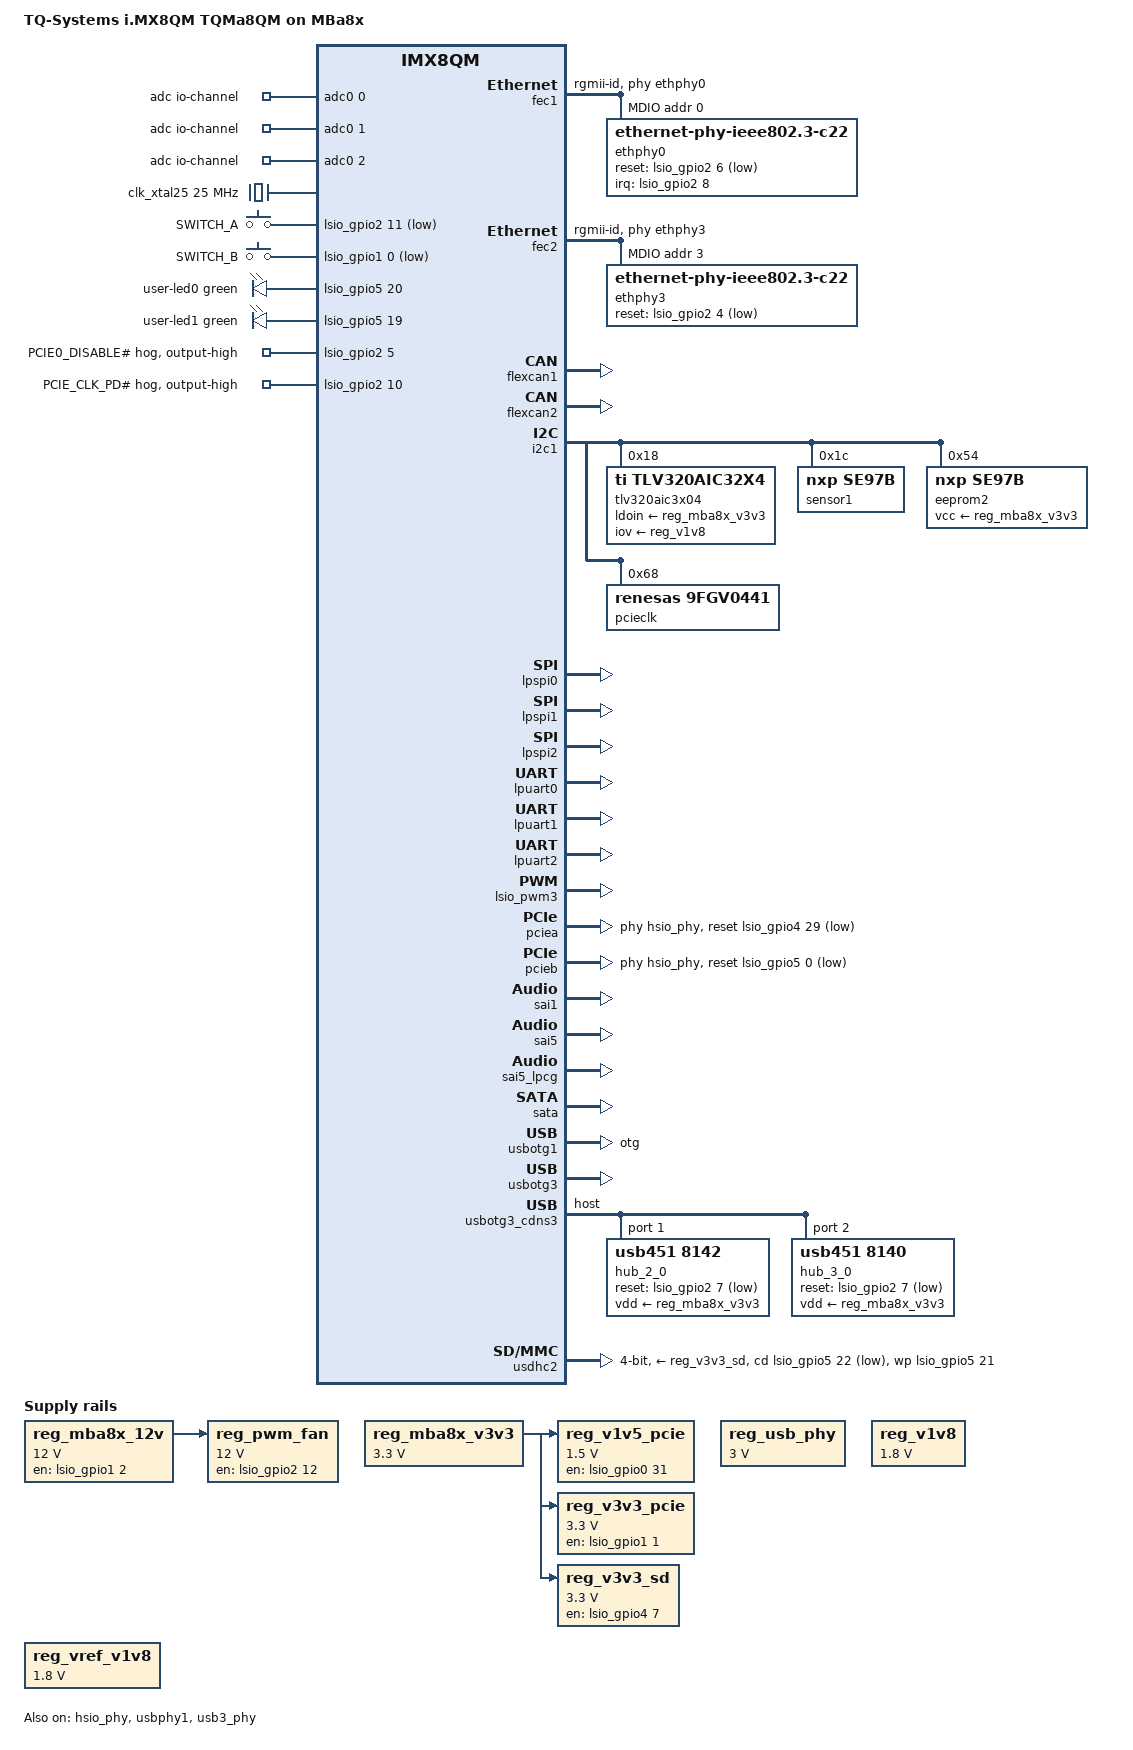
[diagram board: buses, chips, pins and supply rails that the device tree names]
// SPDX-License-Identifier: (GPL-2.0-or-later OR MIT)
/*
 * Copyright (c) 2019-2026 TQ-Systems GmbH <linux@ew.tq-group.com>,
 * D-82229 Seefeld, Germany.
 * Author: Alexander Stein
 */

/dts-v1/;

#include <dt-bindings/input/linux-event-codes.h>
#include <dt-bindings/interrupt-controller/irq.h>
#include <dt-bindings/leds/common.h>
#include <dt-bindings/net/ti-dp83867.h>
#include <dt-bindings/pwm/pwm.h>

#include "imx8qm-tqma8qm.dtsi"

/ {
	model = "TQ-Systems i.MX8QM TQMa8QM on MBa8x";
	compatible = "tq,imx8qm-tqma8qm-mba8x", "tq,imx8qm-tqma8qm", "fsl,imx8qm";

	adc {
		compatible = "iio-hwmon";
		io-channels = <&adc0 0>, <&adc0 1>, <&adc0 2>;
	};

	aliases {
		rtc0 = &pcf85063;
		rtc1 = &rtc;
	};

	chosen {
		stdout-path = &lpuart0;
	};


	clk_xtal25: clk-xtal25 {
		compatible = "fixed-clock";
		#clock-cells = <0>;
		clock-frequency = <25000000>;
	};

	gpio-keys {
		compatible = "gpio-keys";
		pinctrl-names = "default";
		pinctrl-0 = <&pinctrl_gpiokeys>;
		autorepeat;

		switch-1 {
			label = "SWITCH_A";
			linux,code = <BTN_0>;
			gpios = <&lsio_gpio2 11 GPIO_ACTIVE_LOW>;
			wakeup-source;
		};

		switch-2 {
			label = "SWITCH_B";
			linux,code = <BTN_1>;
			gpios = <&lsio_gpio1 0 GPIO_ACTIVE_LOW>;
			wakeup-source;
		};
	};

	gpio-leds {
		compatible = "gpio-leds";
		pinctrl-names = "default";
		pinctrl-0 = <&pinctrl_gpioled>;

		user-led0 {
			color = <LED_COLOR_ID_GREEN>;
			function = LED_FUNCTION_HEARTBEAT;
			gpios = <&lsio_gpio5 20 GPIO_ACTIVE_HIGH>;
			linux,default-trigger = "heartbeat";
		};

		user-led1 {
			color = <LED_COLOR_ID_GREEN>;
			function = LED_FUNCTION_STATUS;
			gpios = <&lsio_gpio5 19 GPIO_ACTIVE_HIGH>;
			default-state = "on";
		};
	};

	fan0: pwm-fan {
		compatible = "pwm-fan";
		pinctrl-names = "default";
		pinctrl-0 = <&pinctrl_pwmfan>;
		fan-supply = <&reg_pwm_fan>;
		#cooling-cells = <2>;
		/* typical 25 kHz -> 40.000 nsec */
		pwms = <&lsio_pwm3 0 40000 PWM_POLARITY_INVERTED>;
		cooling-levels = <0 32 64 128 196 240>;
		pulses-per-revolution = <2>;
		interrupt-parent = <&lsio_gpio2>;
		interrupts = <20 IRQ_TYPE_EDGE_FALLING>;
		status = "disabled";
	};

	reg_mba8x_12v: regulator-mba8x-12v {
		compatible = "regulator-fixed";
		pinctrl-names = "default";
		pinctrl-0 = <&pinctrl_reg_mba8x_12v>;
		regulator-name = "MBa8x-V12";
		regulator-min-microvolt = <12000000>;
		regulator-max-microvolt = <12000000>;
		enable-active-high;
		gpio = <&lsio_gpio1 2 GPIO_ACTIVE_HIGH>;
	};

	reg_mba8x_v3v3: regulator-mba8x-v3v3 {
		compatible = "regulator-fixed";
		regulator-name = "V_3V3_MB";
		regulator-min-microvolt = <3300000>;
		regulator-max-microvolt = <3300000>;
		regulator-always-on;
	};

	reg_pwm_fan: regulator-pwm-fan {
		compatible = "regulator-fixed";
		pinctrl-names = "default";
		pinctrl-0 = <&pinctrl_regpwmfan>;
		regulator-name = "FAN_PWR";
		regulator-min-microvolt = <12000000>;
		regulator-max-microvolt = <12000000>;
		gpio = <&lsio_gpio2 12 GPIO_ACTIVE_HIGH>;
		enable-active-high;
		vin-supply = <&reg_mba8x_12v>;
	};

	reg_usb_phy: regulator-usb-phy {
		compatible = "regulator-fixed";
		regulator-max-microvolt = <3000000>;
		regulator-min-microvolt = <3000000>;
		regulator-name = "usb-phy-dummy";
	};

	reg_v1v5_pcie: regulator-v1v5-pcie {
		compatible = "regulator-fixed";
		pinctrl-names = "default";
		pinctrl-0 = <&pinctrl_reg_pcie_v1v5>;
		regulator-name = "V_1V5_MPCIE";
		regulator-min-microvolt = <1500000>;
		regulator-max-microvolt = <1500000>;
		vin-supply = <&reg_mba8x_v3v3>;
		enable-active-high;
		gpio = <&lsio_gpio0 31 GPIO_ACTIVE_HIGH>;
		regulator-always-on;
	};

	reg_v1v8: regulator-v1v8 {
		compatible = "regulator-fixed";
		regulator-name = "MBa8x-V1V8";
		regulator-min-microvolt = <1800000>;
		regulator-max-microvolt = <1800000>;
		regulator-always-on;
	};

	reg_v3v3_pcie: regulator-v3v3-pcie {
		compatible = "regulator-fixed";
		pinctrl-names = "default";
		pinctrl-0 = <&pinctrl_reg_pcie_v3v3>;
		regulator-name = "V_3V3_MPCIE";
		regulator-min-microvolt = <3300000>;
		regulator-max-microvolt = <3300000>;
		vin-supply = <&reg_mba8x_v3v3>;
		enable-active-high;
		gpio = <&lsio_gpio1 1 GPIO_ACTIVE_HIGH>;
		regulator-always-on;
	};

	reg_v3v3_sd: regulator-v3v3-sd {
		compatible = "regulator-fixed";
		pinctrl-names = "default";
		pinctrl-0 = <&pinctrl_reg_v3v3_sd>;
		regulator-name = "V3V3_SD";
		regulator-min-microvolt = <3300000>;
		regulator-max-microvolt = <3300000>;
		vin-supply = <&reg_mba8x_v3v3>;
		gpio = <&lsio_gpio4 7 GPIO_ACTIVE_HIGH>;
		enable-active-high;
		regulator-boot-on;
		off-on-delay-us = <200000>;
	};

	reg_vref_v1v8: regulator-vref-v1v8 {
		compatible = "regulator-fixed";
		regulator-name = "VREF_V1V8";
		regulator-min-microvolt = <1800000>;
		regulator-max-microvolt = <1800000>;
		regulator-always-on;
	};

	reserved-memory {
		#address-cells = <2>;
		#size-cells = <2>;
		ranges;

		/*
		 * global autoconfigured region for contiguous allocations
		 * must not exceed memory size and region
		 */
		linux,cma {
			compatible = "shared-dma-pool";
			reusable;
			size = <0 0x3c000000>;
			alloc-ranges = <0 0x96000000 0 0x3c000000>;
			linux,cma-default;
		};

		decoder_boot: decoder-boot@84000000 {
			reg = <0 0x84000000 0 0x2000000>;
			no-map;
		};

		encoder1_boot: encoder1-boot@86000000 {
			reg = <0 0x86000000 0 0x200000>;
			no-map;
		};

		encoder2_boot: encoder2-boot@86200000 {
			reg = <0 0x86200000 0 0x200000>;
			no-map;
		};

		decoder_rpc: decoder-rpc@92000000 {
			reg = <0 0x92000000 0 0x100000>;
			no-map;
		};

		encoder1_rpc: encoder1-rpc@92100000 {
			reg = <0 0x92100000 0 0x700000>;
			no-map;
		};

		encoder2_rpc: encoder1-rpc@92800000 {
			reg = <0 0x92800000 0 0x700000>;
			no-map;
		};
	};

	sound {
		compatible = "fsl,imx-audio-tlv320aic32x4";
		model = "tqm-tlv320aic32";
		ssi-controller = <&sai1>;
		audio-codec = <&tlv320aic3x04>;
		audio-routing =
			"IN3_L", "Mic Jack",
			"Mic Jack", "Mic Bias",
			"IN1_L", "Line In Jack",
			"IN1_R", "Line In Jack",
			"Line Out Jack", "LOL",
			"Line Out Jack", "LOR";
	};

	sound-hdmi {
		compatible = "fsl,imx-audio-hdmi";
		model = "imx-audio-dp";
		audio-cpu = <&sai5>;
		hdmi-out;
	};

	thermal-zones {
		cpu0-thermal {
			trips {
				soc_active0_0: trip-active0 {
					temperature = <40000>;
					hysteresis = <5000>;
					type = "active";
				};

				soc_active0_1: trip-active1 {
					temperature = <48000>;
					hysteresis = <3000>;
					type = "active";
				};

				soc_active0_2: trip-active2 {
					temperature = <60000>;
					hysteresis = <10000>;
					type = "active";
				};
			};

			cooling-maps {
				map1 {
					trip = <&soc_active0_0>;
					cooling-device = <&fan0 1 1>;
				};

				map2 {
					trip = <&soc_active0_1>;
					cooling-device = <&fan0 2 2>;
				};

				map3 {
					trip = <&soc_active0_2>;
					cooling-device = <&fan0 3 3>;
				};
			};
		};
	};
};

&fec1 {
	pinctrl-names = "default";
	pinctrl-0 = <&pinctrl_fec1>;
	phy-mode = "rgmii-id";
	phy-handle = <&ethphy0>;
	nvmem-cells = <&fec_mac0>;
	nvmem-cell-names = "mac-address";
	status = "okay";

	mdio {
		#address-cells = <1>;
		#size-cells = <0>;

		ethphy0: ethernet-phy@0 {
			compatible = "ethernet-phy-ieee802.3-c22";
			reg = <0>;
			pinctrl-names = "default";
			pinctrl-0 = <&pinctrl_ethphy0>;
			ti,rx-internal-delay = <DP83867_RGMIIDCTL_2_25_NS>;
			ti,tx-internal-delay = <DP83867_RGMIIDCTL_2_25_NS>;
			ti,fifo-depth = <DP83867_PHYCR_FIFO_DEPTH_4_B_NIB>;
			ti,dp83867-rxctrl-strap-quirk;
			ti,clk-output-sel = <DP83867_CLK_O_SEL_OFF>;
			reset-gpios = <&lsio_gpio2 6 GPIO_ACTIVE_LOW>;
			reset-assert-us = <500000>;
			reset-deassert-us = <50000>;
			enet-phy-lane-no-swap;
			interrupt-parent = <&lsio_gpio2>;
			interrupts = <8 IRQ_TYPE_LEVEL_LOW>;
		};
	};
};

&fec2 {
	pinctrl-names = "default";
	pinctrl-0 = <&pinctrl_fec2>;
	phy-mode = "rgmii-id";
	phy-handle = <&ethphy3>;
	nvmem-cells = <&fec_mac1>;
	nvmem-cell-names = "mac-address";
	status = "okay";

	mdio {
		#address-cells = <1>;
		#size-cells = <0>;

		ethphy3: ethernet-phy@3 {
			compatible = "ethernet-phy-ieee802.3-c22";
			reg = <3>;
			pinctrl-names = "default";
			pinctrl-0 = <&pinctrl_ethphy3>;
			ti,rx-internal-delay = <DP83867_RGMIIDCTL_2_25_NS>;
			ti,tx-internal-delay = <DP83867_RGMIIDCTL_2_25_NS>;
			ti,fifo-depth = <DP83867_PHYCR_FIFO_DEPTH_4_B_NIB>;
			ti,dp83867-rxctrl-strap-quirk;
			ti,clk-output-sel = <DP83867_CLK_O_SEL_OFF>;
			reset-gpios = <&lsio_gpio2 4 GPIO_ACTIVE_LOW>;
			reset-assert-us = <500000>;
			reset-deassert-us = <50000>;
			enet-phy-lane-no-swap;
		};
	};
};

&flexcan1 {
	pinctrl-names = "default";
	pinctrl-0 = <&pinctrl_flexcan1>;
	status = "okay";
};

&flexcan2 {
	pinctrl-names = "default";
	pinctrl-0 = <&pinctrl_flexcan2>;
	status = "okay";
};

&hsio_phy {
	fsl,hsio-cfg = "pciea-pcieb-sata";
	fsl,refclk-pad-mode = "input";
	status = "okay";
};

/* no refclock gating */
&hsio_refa_clk {
	compatible = "fixed-factor-clock";
	clocks = <&pcieclk 0>;
	clock-div = <1>;
	clock-mult = <1>;
	/delete-property/ enable-gpios;
};

&hsio_refb_clk {
	compatible = "fixed-factor-clock";
	clocks = <&pcieclk 0>;
	clock-div = <1>;
	clock-mult = <1>;
	/delete-property/ enable-gpios;
};

&i2c1 {
	tlv320aic3x04: audio-codec@18 {
		compatible = "ti,tlv320aic32x4";
		reg = <0x18>;
		clocks = <&mclkout0_lpcg IMX_LPCG_CLK_0>;
		clock-names = "mclk";
		assigned-clocks = <&clk IMX_SC_R_AUDIO_PLL_0 IMX_SC_PM_CLK_PLL>,
				<&clk IMX_SC_R_AUDIO_PLL_0 IMX_SC_PM_CLK_SLV_BUS>,
				<&clk IMX_SC_R_AUDIO_PLL_0 IMX_SC_PM_CLK_MST_BUS>,
				<&mclkout0_lpcg IMX_LPCG_CLK_0>;
		assigned-clock-rates = <786432000>, <49152000>, <12288000>, <12288000>;
		ldoin-supply = <&reg_mba8x_v3v3>;
		iov-supply = <&reg_v1v8>;
	};

	sensor1: temperature-sensor@1c {
		compatible = "nxp,se97b", "jedec,jc-42.4-temp";
		reg = <0x1c>;
	};

	eeprom2: eeprom@54 {
		compatible = "nxp,se97b", "atmel,24c02";
		reg = <0x54>;
		pagesize = <16>;
		vcc-supply = <&reg_mba8x_v3v3>;
	};

	pcieclk: clock-generator@68 {
		compatible = "renesas,9fgv0441";
		reg = <0x68>;
		clocks = <&clk_xtal25>;
		#clock-cells = <1>;
	};
};

&lpspi0 {
	pinctrl-names = "default";
	pinctrl-0 = <&pinctrl_lpspi0 &pinctrl_lpspi0_cs>;
	cs-gpios = <&lsio_gpio3 5 GPIO_ACTIVE_LOW>, <&lsio_gpio3 6 GPIO_ACTIVE_LOW>;
	status = "okay";
};

&lpspi1 {
	pinctrl-names = "default";
	pinctrl-0 = <&pinctrl_lpspi1 &pinctrl_lpspi1_cs>;
	cs-gpios = <&lsio_gpio3 24 GPIO_ACTIVE_LOW>, <&lsio_gpio3 25 GPIO_ACTIVE_LOW>;
	status = "okay";
};

&lpspi2 {
	pinctrl-names = "default";
	pinctrl-0 = <&pinctrl_lpspi2 &pinctrl_lpspi2_cs>;
	cs-gpios = <&lsio_gpio3 10 GPIO_ACTIVE_LOW>, <&lsio_gpio3 11 GPIO_ACTIVE_LOW>;
	status = "okay";
};

&lpuart0 {
	/* console */
	pinctrl-names = "default";
	pinctrl-0 = <&pinctrl_lpuart0>;
	status = "okay";
};

&lpuart1 {
	/* X62 pin header */
	pinctrl-names = "default";
	pinctrl-0 = <&pinctrl_lpuart1>;
	status = "okay";
};

&lpuart2 {
	/* mikroBUS */
	pinctrl-names = "default";
	pinctrl-0 = <&pinctrl_lpuart2>;
	status = "okay";
};

&lsio_gpio2 {
	pinctrl-names = "default";
	pinctrl-0 = <&pinctrl_gpio2>;
	gpio-line-names = "", "", "", "",
			  "", "PCIE0_DISABLE#", "", "";

	pcie0-wdisable1-hog {
		gpio-hog;
		gpios = <5 0>;
		output-high;
		line-name = "PCIE0_DISABLE#";
	};

	pcie-clk-pd-hog {
		gpio-hog;
		gpios = <10 0>;
		output-high;
		line-name = "PCIE_CLK_PD#";
	};
};

&lsio_pwm3 {
	pinctrl-names = "default";
	pinctrl-0 = <&pinctrl_lsio_pwm3>;
	status = "okay";
};

&pciea {
	pinctrl-names = "default";
	pinctrl-0 = <&pinctrl_pciea>;
	phys = <&hsio_phy 0 PHY_TYPE_PCIE 0>;
	phy-names = "pcie-phy";
	reset-gpio = <&lsio_gpio4 29 GPIO_ACTIVE_LOW>;
	status = "okay";
};

&pcieb {
	pinctrl-names = "default";
	pinctrl-0 = <&pinctrl_pcieb>;
	phys = <&hsio_phy 1 PHY_TYPE_PCIE 1>;
	phy-names = "pcie-phy";
	reset-gpio = <&lsio_gpio5 0 GPIO_ACTIVE_LOW>;
	status = "okay";
};

&sai1 {
	pinctrl-names = "default";
	pinctrl-0 = <&pinctrl_sai1>;
	assigned-clocks = <&clk IMX_SC_R_AUDIO_PLL_0 IMX_SC_PM_CLK_PLL>,
			  <&clk IMX_SC_R_AUDIO_PLL_0 IMX_SC_PM_CLK_SLV_BUS>,
			  <&clk IMX_SC_R_AUDIO_PLL_0 IMX_SC_PM_CLK_MST_BUS>,
			  <&sai1_lpcg IMX_LPCG_CLK_0>;
	assigned-clock-rates = <786432000>, <49152000>, <12288000>, <49152000>;
	status = "okay";
};

&sai5 {
	status = "okay";
};

&sai5_lpcg {
	status = "okay";
};

&sata {
	status = "okay";
};

&usbphy1 {
	phy-3p0-supply = <&reg_usb_phy>;
	status = "okay";
};

&usbotg1 {
	pinctrl-names = "default";
	pinctrl-0 = <&pinctrl_usbotg1>;
	srp-disable;
	hnp-disable;
	adp-disable;
	power-active-high;
	over-current-active-low;
	dr_mode = "otg";
	status = "okay";
};

&usb3_phy {
	status = "okay";
};

&usbotg3 {
	/* over-current disabled by default */
	status = "okay";
};

&usbotg3_cdns3 {
	dr_mode = "host";
	#address-cells = <1>;
	#size-cells = <0>;
	pinctrl-names = "default";
	pinctrl-0 = <&pinctrl_usbhub>;
	status = "okay";

	hub_2_0: hub@1 {
		compatible = "usb451,8142";
		reg = <1>;
		peer-hub = <&hub_3_0>;
		reset-gpios = <&lsio_gpio2 7 GPIO_ACTIVE_LOW>;
		vdd-supply = <&reg_mba8x_v3v3>;
	};

	hub_3_0: hub@2 {
		compatible = "usb451,8140";
		reg = <2>;
		peer-hub = <&hub_2_0>;
		reset-gpios = <&lsio_gpio2 7 GPIO_ACTIVE_LOW>;
		vdd-supply = <&reg_mba8x_v3v3>;
	};
};

&usdhc2 {
	pinctrl-names = "default", "state_100mhz", "state_200mhz";
	pinctrl-0 = <&pinctrl_usdhc2>, <&pinctrl_usdhc2_gpio>;
	pinctrl-1 = <&pinctrl_usdhc2_100mhz>, <&pinctrl_usdhc2_gpio>;
	pinctrl-2 = <&pinctrl_usdhc2_200mhz>, <&pinctrl_usdhc2_gpio>;
	bus-width = <4>;
	cd-gpios = <&lsio_gpio5 22 GPIO_ACTIVE_LOW>;
	wp-gpios = <&lsio_gpio5 21 GPIO_ACTIVE_HIGH>;
	vmmc-supply = <&reg_v3v3_sd>;
	no-mmc;
	no-sdio;
	status = "okay";
};

&iomuxc {
	pinctrl-names = "default";
	pinctrl-0 = <&pinctrl_gpio>;

	pinctrl_adc0: adc0grp {
		fsl,pins = <IMX8QM_ADC_IN1_DMA_ADC0_IN1		0x02000060>,
			   <IMX8QM_ADC_IN2_DMA_ADC0_IN2		0x02000060>;
	};

	pinctrl_ethphy0: ethphy0grp {
		fsl,pins = <IMX8QM_ESAI1_SCKR_LSIO_GPIO2_IO06	0x00000041>,
			   <IMX8QM_ESAI1_TX0_LSIO_GPIO2_IO08	0x00000021>;
	};

	pinctrl_ethphy3: ethphy3grp {
		fsl,pins = <IMX8QM_ESAI1_FSR_LSIO_GPIO2_IO04	0x00000041>;
	};

	pinctrl_fec1: fec1grp {
		fsl,pins = <IMX8QM_COMP_CTL_GPIO_1V8_3V3_ENET_ENETB_PAD		0x000014a0>,
			   <IMX8QM_ENET0_MDC_CONN_ENET0_MDC			0x06000041>,
			   <IMX8QM_ENET0_MDIO_CONN_ENET0_MDIO			0x06000041>,
			   <IMX8QM_ENET0_RGMII_TX_CTL_CONN_ENET0_RGMII_TX_CTL	0x00000041>,
			   <IMX8QM_ENET0_RGMII_TXC_CONN_ENET0_RGMII_TXC		0x00000041>,
			   <IMX8QM_ENET0_RGMII_TXD0_CONN_ENET0_RGMII_TXD0	0x00000041>,
			   <IMX8QM_ENET0_RGMII_TXD1_CONN_ENET0_RGMII_TXD1	0x00000041>,
			   <IMX8QM_ENET0_RGMII_TXD2_CONN_ENET0_RGMII_TXD2	0x00000041>,
			   <IMX8QM_ENET0_RGMII_TXD3_CONN_ENET0_RGMII_TXD3	0x00000041>,
			   <IMX8QM_ENET0_RGMII_RXC_CONN_ENET0_RGMII_RXC		0x00000040>,
			   <IMX8QM_ENET0_RGMII_RX_CTL_CONN_ENET0_RGMII_RX_CTL	0x00000040>,
			   <IMX8QM_ENET0_RGMII_RXD0_CONN_ENET0_RGMII_RXD0	0x00000040>,
			   <IMX8QM_ENET0_RGMII_RXD1_CONN_ENET0_RGMII_RXD1	0x00000040>,
			   <IMX8QM_ENET0_RGMII_RXD2_CONN_ENET0_RGMII_RXD2	0x00000040>,
			   <IMX8QM_ENET0_RGMII_RXD3_CONN_ENET0_RGMII_RXD3	0x00000040>;
	};

	pinctrl_fec2: fec2grp {
		fsl,pins = <IMX8QM_COMP_CTL_GPIO_1V8_3V3_ENET_ENETA_PAD		0x000014a0>,
			   <IMX8QM_ENET1_MDC_CONN_ENET1_MDC			0x06000041>,
			   <IMX8QM_ENET1_MDIO_CONN_ENET1_MDIO			0x06000041>,
			   <IMX8QM_ENET1_RGMII_TX_CTL_CONN_ENET1_RGMII_TX_CTL	0x00000041>,
			   <IMX8QM_ENET1_RGMII_TXC_CONN_ENET1_RGMII_TXC		0x00000041>,
			   <IMX8QM_ENET1_RGMII_TXD0_CONN_ENET1_RGMII_TXD0	0x00000041>,
			   <IMX8QM_ENET1_RGMII_TXD1_CONN_ENET1_RGMII_TXD1	0x00000041>,
			   <IMX8QM_ENET1_RGMII_TXD2_CONN_ENET1_RGMII_TXD2	0x00000041>,
			   <IMX8QM_ENET1_RGMII_TXD3_CONN_ENET1_RGMII_TXD3	0x00000041>,
			   <IMX8QM_ENET1_RGMII_RXC_CONN_ENET1_RGMII_RXC		0x00000040>,
			   <IMX8QM_ENET1_RGMII_RX_CTL_CONN_ENET1_RGMII_RX_CTL	0x00000040>,
			   <IMX8QM_ENET1_RGMII_RXD0_CONN_ENET1_RGMII_RXD0	0x00000040>,
			   <IMX8QM_ENET1_RGMII_RXD1_CONN_ENET1_RGMII_RXD1	0x00000040>,
			   <IMX8QM_ENET1_RGMII_RXD2_CONN_ENET1_RGMII_RXD2	0x00000040>,
			   <IMX8QM_ENET1_RGMII_RXD3_CONN_ENET1_RGMII_RXD3	0x00000040>;
	};

	pinctrl_flexcan1: flexcan0grp {
		fsl,pins = <IMX8QM_FLEXCAN0_TX_DMA_FLEXCAN0_TX		0x00000021>,
			   <IMX8QM_FLEXCAN0_RX_DMA_FLEXCAN0_RX		0x00000021>;
	};

	pinctrl_flexcan2: flexcan1grp {
		fsl,pins = <IMX8QM_FLEXCAN1_TX_DMA_FLEXCAN1_TX		0x00000021>,
			   <IMX8QM_FLEXCAN1_RX_DMA_FLEXCAN1_RX		0x00000021>;
	};

	pinctrl_gpio2: gpio2grp {
		fsl,pins = <IMX8QM_ESAI1_FST_LSIO_GPIO2_IO05		0x00000021>,
			   <IMX8QM_ESAI1_TX2_RX3_LSIO_GPIO2_IO10	0x00000021>;
	};

	pinctrl_gpio: gpiogrp {
		fsl,pins = /* GPIO0_05 on X62:26 */
			   <IMX8QM_SIM0_GPIO0_00_LSIO_GPIO0_IO05	0x00000021>,
			   /* GPIO1_14 on X64:21 */
			   <IMX8QM_LVDS1_I2C1_SCL_LSIO_GPIO1_IO14	0x00000021>,
			   /* GPIO1_15 on X64:23 */
			   <IMX8QM_LVDS1_I2C1_SDA_LSIO_GPIO1_IO15	0x00000021>,
			   /* GPIO2_17 on X63:37 */
			   <IMX8QM_SPI3_SCK_LSIO_GPIO2_IO17		0x00000021>,
			   /* GPIO2_21 on X63:39 */
			   <IMX8QM_SPI3_CS1_LSIO_GPIO2_IO21		0x00000021>,
			   /* GPIO4_12 on X61:24 */
			   <IMX8QM_USDHC2_CD_B_LSIO_GPIO4_IO12		0x00000021>,
			   /* GPIO4_11 on X61:26 */
			   <IMX8QM_USDHC2_WP_LSIO_GPIO4_IO11		0x00000021>,
			   /* GPIO4_10 on X61:28 */
			   <IMX8QM_USDHC2_VSELECT_LSIO_GPIO4_IO10	0x00000021>,
			   /* GPIO4_09 on X61:30 */
			   <IMX8QM_USDHC2_RESET_B_LSIO_GPIO4_IO09	0x00000021>,
			   /* GPIO5_23 on X62:24 */
			   <IMX8QM_USDHC1_STROBE_LSIO_GPIO5_IO23	0x00000021>,
			   /* GPIO5_24 on X61:15 */
			   <IMX8QM_USDHC2_CLK_LSIO_GPIO5_IO24		0x00000021>,
			   /* GPIO5_25 on X61:17 */
			   <IMX8QM_USDHC2_CMD_LSIO_GPIO5_IO25		0x00000021>,
			   /* GPIO5_26 on X61:19 */
			   <IMX8QM_USDHC2_DATA0_LSIO_GPIO5_IO26		0x00000021>,
			   /* GPIO5_27 on X61:21 */
			   <IMX8QM_USDHC2_DATA1_LSIO_GPIO5_IO27		0x00000021>,
			   /* GPIO5_28 on X61:23 */
			   <IMX8QM_USDHC2_DATA2_LSIO_GPIO5_IO28		0x00000021>,
			   /* GPIO5_29 on X61:25 */
			   <IMX8QM_USDHC2_DATA3_LSIO_GPIO5_IO29		0x00000021>;
	};

	pinctrl_gpiokeys: gpiokeysgrp {
		fsl,pins = <IMX8QM_ESAI1_TX3_RX2_LSIO_GPIO2_IO11	0x00000021>,
			   <IMX8QM_SCU_GPIO0_04_LSIO_GPIO1_IO00		0x00000021>;
	};

	pinctrl_gpioled: gpioledgrp {
		fsl,pins = <IMX8QM_USDHC1_DATA4_LSIO_GPIO5_IO19		0x00000021>,
			   <IMX8QM_USDHC1_DATA5_LSIO_GPIO5_IO20		0x00000021>;
	};

	pinctrl_lpspi0_cs: lpspi0csgrp {
		fsl,pins = <IMX8QM_SPI0_CS0_LSIO_GPIO3_IO05		0x00000021>,
			   <IMX8QM_SPI0_CS1_LSIO_GPIO3_IO06		0x00000021>;
	};

	pinctrl_lpspi0: lpspi0grp {
		fsl,pins = <IMX8QM_SPI0_SCK_DMA_SPI0_SCK		0x0600004d>,
			   <IMX8QM_SPI0_SDO_DMA_SPI0_SDO		0x0600004d>,
			   <IMX8QM_SPI0_SDI_DMA_SPI0_SDI		0x0600004d>;
	};

	pinctrl_lpspi1_cs: lpspi1csgrp {
		fsl,pins = <IMX8QM_ADC_IN6_LSIO_GPIO3_IO24		0x00000021>,
			   <IMX8QM_ADC_IN7_LSIO_GPIO3_IO25		0x00000021>;
	};

	pinctrl_lpspi1: lpspi1grp {
		fsl,pins = <IMX8QM_ADC_IN3_DMA_SPI1_SCK			0x0600004d>,
			   <IMX8QM_ADC_IN4_DMA_SPI1_SDO			0x0600004d>,
			   <IMX8QM_ADC_IN5_DMA_SPI1_SDI			0x0600004d>;
	};

	pinctrl_lpspi2: lpspi2grp {
		fsl,pins = <IMX8QM_SPI2_SCK_DMA_SPI2_SCK		0x0600004d>,
			   <IMX8QM_SPI2_SDO_DMA_SPI2_SDO		0x0600004d>,
			   <IMX8QM_SPI2_SDI_DMA_SPI2_SDI		0x0600004d>;
	};

	pinctrl_lpspi2_cs: lpspi2sgrp {
		fsl,pins = <IMX8QM_SPI2_CS0_LSIO_GPIO3_IO10		0x00000021>,
			   <IMX8QM_SPI2_CS1_LSIO_GPIO3_IO11		0x00000021>;
	};

	pinctrl_lpuart0: lpuart0grp {
		fsl,pins = <IMX8QM_UART0_RX_DMA_UART0_RX		0x06000021>,
			   <IMX8QM_UART0_TX_DMA_UART0_TX		0x06000021>,
			   <IMX8QM_UART0_CTS_B_DMA_UART0_CTS_B		0x00000021>,
			   <IMX8QM_UART0_RTS_B_DMA_UART0_RTS_B		0x00000021>;
	};

	pinctrl_lpuart1: lpuart1grp {
		fsl,pins = <IMX8QM_UART1_RX_DMA_UART1_RX		0x06000021>,
			   <IMX8QM_UART1_TX_DMA_UART1_TX		0x06000021>,
			   <IMX8QM_UART1_CTS_B_DMA_UART1_CTS_B		0x00000021>,
			   <IMX8QM_UART1_RTS_B_DMA_UART1_RTS_B		0x00000021>;
	};

	pinctrl_lpuart2: lpuart2grp {
		fsl,pins = <IMX8QM_LVDS0_I2C1_SDA_DMA_UART2_RX		0x06000021>,
			   <IMX8QM_LVDS0_I2C1_SCL_DMA_UART2_TX		0x06000021>;
	};

	pinctrl_lsio_pwm3: lsiopwm3grp {
		fsl,pins = <IMX8QM_GPT0_COMPARE_LSIO_PWM3_OUT		0x00000021>;
	};

	pinctrl_pciea: pcieagrp {
		fsl,pins = <IMX8QM_PCIE_CTRL0_PERST_B_LSIO_GPIO4_IO29		0x06000021>,
			   <IMX8QM_PCIE_CTRL0_CLKREQ_B_HSIO_PCIE0_CLKREQ_B	0x06000021>,
			   <IMX8QM_PCIE_CTRL0_WAKE_B_LSIO_GPIO4_IO28		0x04000021>;
	};

	pinctrl_pcieb: pciebgrp {
		fsl,pins = <IMX8QM_PCIE_CTRL1_PERST_B_LSIO_GPIO5_IO00		0x06000021>,
			   <IMX8QM_PCIE_CTRL1_CLKREQ_B_HSIO_PCIE1_CLKREQ_B	0x06000021>,
			   <IMX8QM_PCIE_CTRL1_WAKE_B_LSIO_GPIO4_IO31		0x04000021>;
	};

	pinctrl_pwmfan: pwmfangrp {
		fsl,pins = <IMX8QM_SPI3_CS0_LSIO_GPIO2_IO20		0x30>;
	};

	pinctrl_reg_mba8x_12v: regmba12vgrp {
		fsl,pins = <IMX8QM_SCU_GPIO0_06_LSIO_GPIO1_IO02		0x00000021>;
	};

	pinctrl_reg_pcie_v1v5: regpcie1v5grp {
		fsl,pins = <IMX8QM_SCU_GPIO0_03_LSIO_GPIO0_IO31		0x00000021>;
	};

	pinctrl_reg_pcie_v3v3: regpcie3v3grp {
		fsl,pins = <IMX8QM_SCU_GPIO0_05_LSIO_GPIO1_IO01		0x00000021>;
	};

	pinctrl_regpwmfan: regpwmfangrp {
		fsl,pins = <IMX8QM_ESAI1_TX4_RX1_LSIO_GPIO2_IO12	0x00000021>;
	};

	pinctrl_reg_v3v3_sd: regv3v3sdgrp {
		fsl,pins = <IMX8QM_USDHC1_RESET_B_LSIO_GPIO4_IO07	0x00000021>;
	};

	pinctrl_sai1: sai1grp {
		fsl,pins = <IMX8QM_SAI1_RXD_AUD_SAI1_RXD		0x06000041>,
			   <IMX8QM_SAI1_RXC_AUD_SAI1_RXC		0x06000041>,
			   <IMX8QM_SAI1_RXFS_AUD_SAI1_RXFS		0x06000041>,
			   <IMX8QM_SAI1_TXD_AUD_SAI1_TXD		0x06000061>,
			   <IMX8QM_SAI1_TXC_AUD_SAI1_TXC		0x06000041>,
			   <IMX8QM_MCLK_OUT0_AUD_ACM_MCLK_OUT0		0x0600004d>;
	};

	pinctrl_usbhub: usbhubgrp {
		fsl,pins = <IMX8QM_ESAI1_SCKT_LSIO_GPIO2_IO07		0x00000021>;
	};

	pinctrl_usbotg1: usbotg1grp {
		fsl,pins = <IMX8QM_USB_SS3_TC2_CONN_USB_OTG1_OC		0x00000021>,
			   <IMX8QM_USB_SS3_TC0_CONN_USB_OTG1_PWR	0x00000021>;
	};

	pinctrl_usdhc2: usdhc2grp {
		fsl,pins = <IMX8QM_USDHC1_CLK_CONN_USDHC1_CLK		0x06000041>,
			   <IMX8QM_USDHC1_CMD_CONN_USDHC1_CMD		0x00000021>,
			   <IMX8QM_USDHC1_DATA0_CONN_USDHC1_DATA0	0x00000021>,
			   <IMX8QM_USDHC1_DATA1_CONN_USDHC1_DATA1	0x00000021>,
			   <IMX8QM_USDHC1_DATA2_CONN_USDHC1_DATA2	0x00000021>,
			   <IMX8QM_USDHC1_DATA3_CONN_USDHC1_DATA3	0x00000021>,
			   <IMX8QM_USDHC1_VSELECT_CONN_USDHC1_VSELECT	0x00000021>;
	};

	pinctrl_usdhc2_100mhz: usdhc2-100mhzgrp {
		fsl,pins = <IMX8QM_USDHC1_CLK_CONN_USDHC1_CLK		0x06000041>,
			   <IMX8QM_USDHC1_CMD_CONN_USDHC1_CMD		0x00000021>,
			   <IMX8QM_USDHC1_DATA0_CONN_USDHC1_DATA0	0x00000021>,
			   <IMX8QM_USDHC1_DATA1_CONN_USDHC1_DATA1	0x00000021>,
			   <IMX8QM_USDHC1_DATA2_CONN_USDHC1_DATA2	0x00000021>,
			   <IMX8QM_USDHC1_DATA3_CONN_USDHC1_DATA3	0x00000021>,
			   <IMX8QM_USDHC1_VSELECT_CONN_USDHC1_VSELECT	0x00000021>;
	};

	pinctrl_usdhc2_200mhz: usdhc2-200mhzgrp {
		fsl,pins = <IMX8QM_USDHC1_CLK_CONN_USDHC1_CLK		0x06000041>,
			   <IMX8QM_USDHC1_CMD_CONN_USDHC1_CMD		0x00000021>,
			   <IMX8QM_USDHC1_DATA0_CONN_USDHC1_DATA0	0x00000021>,
			   <IMX8QM_USDHC1_DATA1_CONN_USDHC1_DATA1	0x00000021>,
			   <IMX8QM_USDHC1_DATA2_CONN_USDHC1_DATA2	0x00000021>,
			   <IMX8QM_USDHC1_DATA3_CONN_USDHC1_DATA3	0x00000021>,
			   <IMX8QM_USDHC1_VSELECT_CONN_USDHC1_VSELECT	0x00000021>;
	};

	pinctrl_usdhc2_gpio: usdhc2-gpiogrp {
		fsl,pins = <IMX8QM_USDHC1_DATA6_LSIO_GPIO5_IO21		0x00000021>,
			   <IMX8QM_USDHC1_DATA7_LSIO_GPIO5_IO22		0x00000021>;
	};
};
